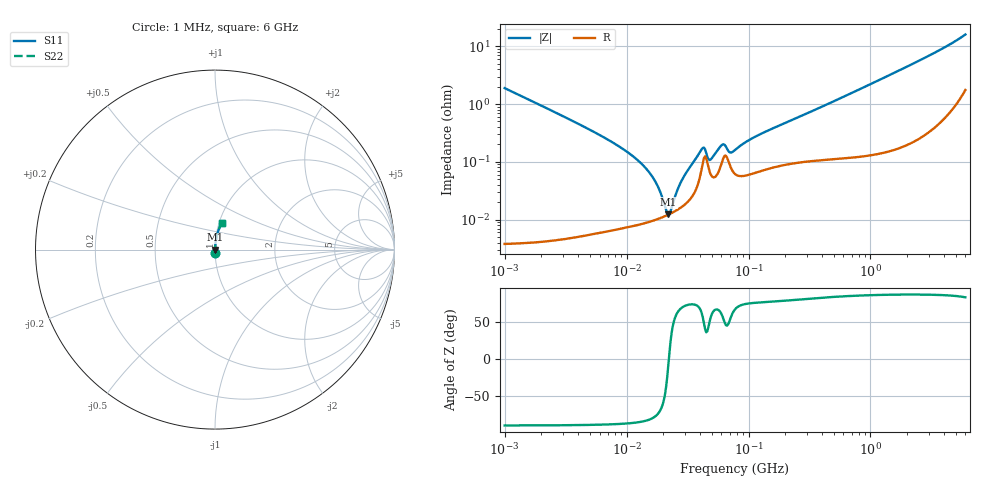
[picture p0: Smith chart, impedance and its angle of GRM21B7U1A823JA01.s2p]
!Murata Part Number: GRM21B7U1A823JA01
!These Parameters are Measured in Series Mode Connection
!Data Generated on Mar 30, 2021
!  o--ll--o
!Port1  Port2
!  o------o
!Operation Temp=25[degC], DC Bias Voltage=0[V]
!Freq. Start=1000[kHz] Stop=6[GHz] 401[Steps]
# Hz S RI R 50
!Freq.(Hz) S11(Real) S11(Imag) S21(Real) S21(Imag) S12(Real) S12(Imag) S22(Real) S22(Imag)
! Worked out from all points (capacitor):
!   401 points, 1 MHz to 6 GHz, reference 50 ohm
!   read as one part in series: C = 83.9 nF near 1.044 MHz
!   lowest |Z| = 12.3 mohm at 21.94 MHz (marker M1)
!   series resonance near 22.21 MHz, so ESL is about 610 pH
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1000000  0.000396 -0.0189  0.9996 0.0189  0.9996 0.0189  0.000396 -0.0189
4293785  6.94e-05 -0.00424  0.9999 0.00424  0.9999 0.00424  6.94e-05 -0.00424
7894251  7e-05 -0.00209  0.9999 0.00209  0.9999 0.00209  7e-05 -0.00209
1.16769e7  7.96e-05 -0.00118  0.9999 0.00118  0.9999 0.00118  7.96e-05 -0.00118
1.515906e7  9.09e-05 -0.000672  0.9999 0.000672  0.9999 0.000672  9.09e-05 -0.000672
1.843659e7  0.000104 -0.000324  0.9999 0.000324  0.9999 0.000324  0.000104 -0.000324
2.100646e7  0.000116 -9.73e-05  0.9999 9.73e-05  0.9999 9.73e-05  0.000116 -9.73e-05
2.194036e7  0.000121 -2.15e-05  0.9999 2.15e-05  0.9999 2.15e-05  0.000121 -2.15e-05
2.291577e7  0.000127 5.48e-05  0.9999 -5.48e-05  0.9999 -5.48e-05  0.000127 5.48e-05
2.610999e7  0.000148 0.00029  0.9999 -0.00029  0.9999 -0.00029  0.000148 0.00029
2.848316e7  0.000167 0.000456  0.9998 -0.000456  0.9998 -0.000456  0.000167 0.000456
4.12249e7  0.000749 0.00146  0.9993 -0.00146  0.9993 -0.00146  0.000749 0.00146
4.305766e7  0.00115 0.00133  0.9988 -0.00133  0.9988 -0.00133  0.00115 0.00133
4.800399e7  0.000675 0.000833  0.9993 -0.000833  0.9993 -0.000833  0.000675 0.000833
5.013812e7  0.000559 0.00102  0.9994 -0.00102  0.9994 -0.00102  0.000559 0.00102
6.097846e7  0.00104 0.00169  0.999 -0.00169  0.999 -0.00169  0.00104 0.00169
7.100585e7  0.000831 0.00118  0.9992 -0.00118  0.9992 -0.00118  0.000831 0.00118
7.745967e7  0.000618 0.00148  0.9994 -0.00148  0.9994 -0.00148  0.000618 0.00148
1.170949e8  0.000664 0.00274  0.9993 -0.00274  0.9993 -0.00274  0.000664 0.00274
3.325952e8  0.00109 0.00748  0.9989 -0.00748  0.9989 -0.00748  0.00109 0.00748
1.428092e9  0.00251 0.0315  0.9975 -0.0315  0.9975 -0.0315  0.00251 0.0315
6e9  0.0409 0.1505  0.9591 -0.1505  0.9591 -0.1505  0.0409 0.1505
